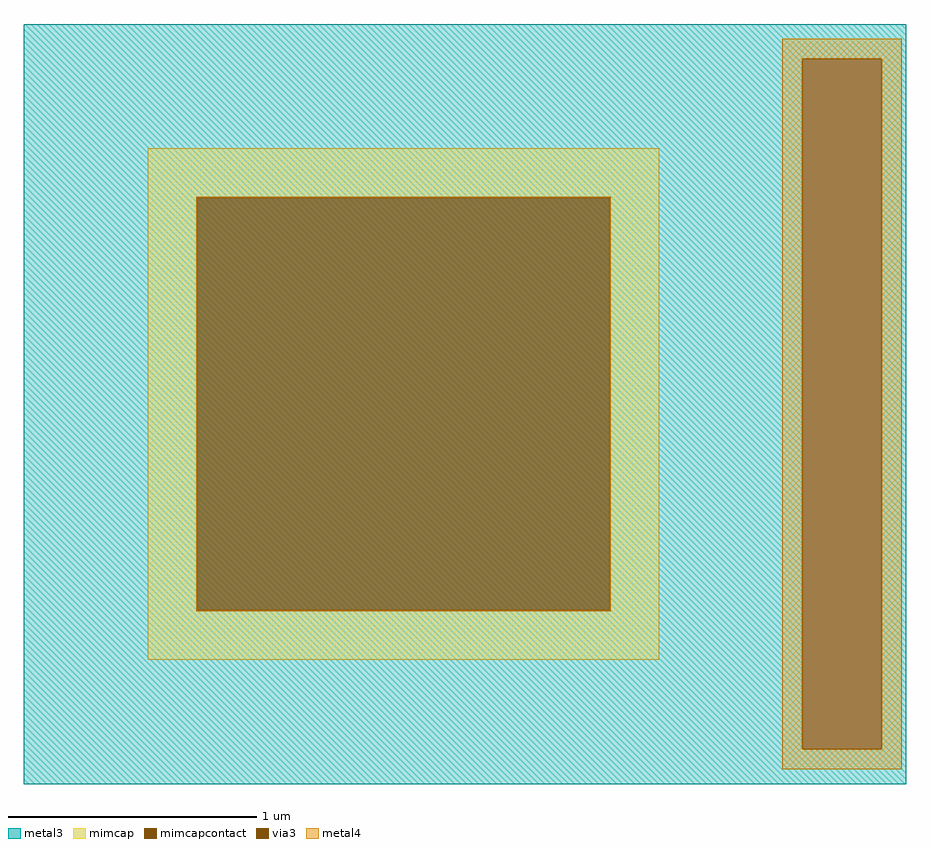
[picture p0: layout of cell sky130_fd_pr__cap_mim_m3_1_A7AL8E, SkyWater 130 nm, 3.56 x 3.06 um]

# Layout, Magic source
magic
tech sky130A
magscale 1 2
<< metal3 >>
rect -356 278 355 306
rect -356 -278 271 278
rect 335 -278 355 278
rect -356 -306 355 -278
<< via3 >>
rect 271 -278 335 278
<< mimcap >>
rect -256 166 156 206
rect -256 -166 -216 166
rect 116 -166 156 166
rect -256 -206 156 -166
<< mimcapcontact >>
rect -216 -166 116 166
<< metal4 >>
rect 255 278 351 294
rect -217 166 117 167
rect -217 -166 -216 166
rect 116 -166 117 166
rect -217 -167 117 -166
rect 255 -278 271 278
rect 335 -278 351 278
rect 255 -294 351 -278
<< properties >>
string FIXED_BBOX -356 -306 256 306
string gencell sky130_fd_pr__cap_mim_m3_1
string library sky130
string parameters w 2.06 l 2.06 val 10.052 carea 2.00 cperi 0.19 nx 1 ny 1 dummy 0 square 0 lmin 2.00 wmin 2.00 lmax 30.0 wmax 30.0 dc 0 bconnect 1 tconnect 1 ccov 100
<< end >>
